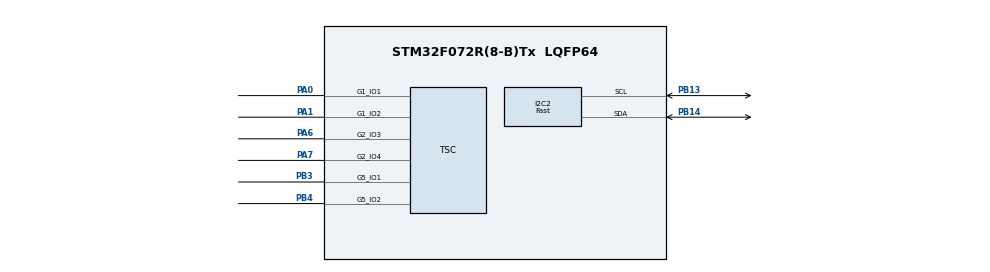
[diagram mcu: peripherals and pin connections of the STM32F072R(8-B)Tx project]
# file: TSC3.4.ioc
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I2C2.I2C_Speed_Mode=I2C_Fast
I2C2.Timing=0x0000020B
Mcu.Family=STM32F0
Mcu.Name=STM32F072R(8-B)Tx
Mcu.Package=LQFP64
PA0.Mode=G1_IO1-Sampling
PA0.Signal=TSC_G1_IO1
PA1.Mode=G1_IO2-Channel
PA1.Signal=TSC_G1_IO2
PA6.Mode=G2_IO3-Sampling
PA6.Signal=TSC_G2_IO3
PA7.Mode=G2_IO4-Channel
PA7.Signal=TSC_G2_IO4
PB13.Mode=I2C
PB13.Signal=I2C2_SCL
PB14.Mode=I2C
PB14.Signal=I2C2_SDA
PB3.Mode=G5_IO1-Sampling
PB3.Signal=TSC_G5_IO1
PB4.Mode=G5_IO2-Channel
PB4.Signal=TSC_G5_IO2
ProjectManager.HeapSize=0x200
ProjectManager.StackSize=0x400
ProjectManager.TargetToolchain=STM32CubeIDE
TOUCHSENSING.IO_TOUCHKEY_B1=G1_IO2
TOUCHSENSING.IO_TOUCHKEY_B2=G2_IO4
TOUCHSENSING.IO_TOUCHKEY_B3=G5_IO2
TOUCHSENSING.TSLPRM_SENSORS_DATAS=TSLPRM_TOTAL_TOUCHKEYS_B 1 3 
TOUCHSENSING.TSLPRM_TOTAL_TOUCHKEYS_B=3
TSC.ChannelIOs-G1_IO2=TSC_GROUP1_IO2
TSC.ChannelIOs-G2_IO4=TSC_GROUP2_IO4
TSC.ChannelIOs-G5_IO2=TSC_GROUP5_IO2
TSC.SamplingIOs-G1_IO1=TSC_GROUP1_IO1
TSC.SamplingIOs-G2_IO3=TSC_GROUP2_IO3
TSC.SamplingIOs-G5_IO1=TSC_GROUP5_IO1
VP_TOUCHSENSING_VS_TOUCHSENSING.Mode=TouchSensing_Enabled
board=custom

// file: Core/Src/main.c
/* USER CODE BEGIN Header */
/**
  ******************************************************************************
  * @file           : main.c
  * @brief          : Main program body
  ******************************************************************************
  * @attention
  *
  * Copyright (c) 2025 STMicroelectronics.
  * All rights reserved.
  *
  * This software is licensed under terms that can be found in the LICENSE file
  * in the root directory of this software component.
  * If no LICENSE file comes with this software, it is provided AS-IS.
  *
  ******************************************************************************
  */
/* USER CODE END Header */
#include "main.h"
#include "touchsensing.h"

/* USER CODE BEGIN Includes */
#include <math.h>
#include "OLEDScreen.h"
#include <stdio.h>
/* USER CODE END Includes */

/* USER CODE BEGIN PTD */
void I2C2WriteRegister(unsigned char Recv_addr, char Reg_addr, char Data);
void Clear_OLED(void);
void Set_Cursor_Pos(int , int );
void PrintChar_OLED(char );
void WriteString_OLED(char* );
void Draw_Point_OLED(int x, int y);
void Draw_Line_OLED (void);
void Draw_Rect_OLED (int w, int h);

/**************Defines Here for OLED, ssd1306************************/
#define OLED_addr          0x3C
//   *****   ssd Commands and data *************

#define SSD1306_LCDWIDTH      128
#define SSD1306_LCDHEIGHT      64
#define SSD1306_SETCONTRAST   0x81
#define SSD1306_DISPLAYALLON_RESUME 0xA4
#define SSD1306_DISPLAYALLON 0xA5
#define SSD1306_NORMALDISPLAY 0xA6
#define SSD1306_INVERTDISPLAY 0xA7
#define SSD1306_DISPLAYOFF 0xAE
#define SSD1306_DISPLAYON 0xAF
#define SSD1306_SETDISPLAYOFFSET 0xD3
#define SSD1306_SETCOMPINS 0xDA
#define SSD1306_SETVCOMDETECT 0xDB
#define SSD1306_SETDISPLAYCLOCKDIV 0xD5
#define SSD1306_SETPRECHARGE 0xD9
#define SSD1306_SETMULTIPLEX 0xA8
#define SSD1306_SETLOWCOLUMN 0x00
#define SSD1306_SETHIGHCOLUMN 0x10
#define SSD1306_SETSTARTLINE 0x40
#define SSD1306_MEMORYMODE 0x20
#define SSD1306_COLUMNADDR 0x21
#define SSD1306_PAGEADDR   0x22
#define SSD1306_COMSCANINC 0xC0
#define SSD1306_COMSCANDEC 0xC8
#define SSD1306_SEGREMAP 0xA0
#define SSD1306_CHARGEPUMP 0x8D
#define SSD1306_EXTERNALVCC 0x1
#define SSD1306_SWITCHCAPVCC 0x2
// Standard ASCII 5x7 font

/******* Prototype Function declarations ******/
void  ssd1306_command(unsigned char c);
////////////////////////////////////////////
void  ssd1306_data(unsigned char c);
///////////////////////////////////////////////////
// Used when doing Horizontal or Vertical Addressing
void setColAddress(int xCol);
/////////////////////////////////////////////////////
// Used when doing Horizontal or Vertical Addressing
void setPageAddress(int yPage);

void Init_OLED(int mode);

/* USER CODE END PTD */

I2C_HandleTypeDef hi2c2;

TSC_HandleTypeDef htsc;

/* USER CODE BEGIN PV */
int x1;
float Distance1;
float Temp1;
float runsum1;
float Average1;
int nol = 10;
int Cycles1;

int x2;
float Distance2;
float Temp2;
float runsum2;
float Average2;
int Cycles2;

int x3;
float Distance3;
float Temp3;
float runsum3;
float Average3;
int Cycles3;

char buffer[20];
/* USER CODE END PV */

void SystemClock_Config(void);
static void MX_GPIO_Init(void);
static void MX_TSC_Init(void);
static void MX_I2C2_Init(void);

int main(void)
{

  /* USER CODE BEGIN 1 */
	int i;
  /* USER CODE END 1 */

  /* MCU Configuration--------------------------------------------------------*/

  /* Reset of all peripherals, Initializes the Flash interface and the Systick. */
  HAL_Init();

  /* Configure the system clock */
  SystemClock_Config();

  /* Initialize all configured peripherals */
  MX_GPIO_Init();
  MX_TSC_Init();
  MX_TOUCHSENSING_Init();
  MX_I2C2_Init();
  /* USER CODE BEGIN 2 */
  tsl_user_Init();
  Init_OLED(0);
  Clear_OLED();

	WriteString_OLED("Measuring Tool");
	Set_Cursor_Pos(0, 0);
  /* USER CODE END 2 */

  /* Infinite loop */
  /* USER CODE BEGIN WHILE */
  while (1)
  {
	  runsum1 = 0;
	  runsum2 = 0;
	  runsum3 = 0;

	  for (i = 0; i < nol; i++) {
	  tsl_user_Exec();

	  x1 = MyTKeysB[0].p_ChD->Delta;
	  Cycles1 = MyTKeysB[0].p_ChD->Meas;
	  Distance1 = (3991.4 * pow(x1, -1.523));
	  Temp1 = ((int) (Distance1 * 100));
	  runsum1 = runsum1 + Distance1;
	  Average1 = runsum1 / nol;

	  x2 = MyTKeysB[1].p_ChD->Delta;
	  Cycles2 = MyTKeysB[1].p_ChD->Meas;
	  Distance2 = (2192.7 * pow(x2, -1.492));
	  Temp2 = ((int) (Distance2 * 100));
	  runsum2 = runsum2 + Distance2;
	  Average2 = runsum2 / nol;

	  x3 = MyTKeysB[2].p_ChD->Delta;
	  Cycles3 = MyTKeysB[2].p_ChD->Meas;
	  Distance3 = (571.9 * pow(x3, -1.423));
	  Temp3 = ((int) (Distance3 * 100));
	  runsum3 = runsum3 + Distance3;
	  Average3 = runsum3 / nol;
    /* USER CODE END WHILE */

    /* USER CODE BEGIN 3 */
  }
	  Set_Cursor_Pos(0, 3);
	  sprintf(buffer, "S1=%.3f", Average1);
	  WriteString_OLED(buffer);

	  Set_Cursor_Pos(0, 5);
	  sprintf(buffer, "S2=%.3f", Average2);
	  WriteString_OLED(buffer);

	  Set_Cursor_Pos(0, 7);
	  sprintf(buffer, "S3=%.3f", Average3);
	  WriteString_OLED(buffer);

  /* USER CODE END 3 */
}
}
void SystemClock_Config(void)
{
  RCC_OscInitTypeDef RCC_OscInitStruct = {0};
  RCC_ClkInitTypeDef RCC_ClkInitStruct = {0};

  /** Initializes the RCC Oscillators according to the specified parameters
  * in the RCC_OscInitTypeDef structure.
  */
  RCC_OscInitStruct.OscillatorType = RCC_OSCILLATORTYPE_HSI;
  RCC_OscInitStruct.HSIState = RCC_HSI_ON;
  RCC_OscInitStruct.HSICalibrationValue = RCC_HSICALIBRATION_DEFAULT;
  RCC_OscInitStruct.PLL.PLLState = RCC_PLL_NONE;
  if (HAL_RCC_OscConfig(&RCC_OscInitStruct) != HAL_OK)
  {
    Error_Handler();
  }

  /** Initializes the CPU, AHB and APB buses clocks
  */
  RCC_ClkInitStruct.ClockType = RCC_CLOCKTYPE_HCLK|RCC_CLOCKTYPE_SYSCLK
                              |RCC_CLOCKTYPE_PCLK1;
  RCC_ClkInitStruct.SYSCLKSource = RCC_SYSCLKSOURCE_HSI;
  RCC_ClkInitStruct.AHBCLKDivider = RCC_SYSCLK_DIV1;
  RCC_ClkInitStruct.APB1CLKDivider = RCC_HCLK_DIV1;

  if (HAL_RCC_ClockConfig(&RCC_ClkInitStruct, FLASH_LATENCY_0) != HAL_OK)
  {
    Error_Handler();
  }
}

static void MX_I2C2_Init(void)
{

  hi2c2.Instance = I2C2;
  hi2c2.Init.Timing = 0x0000020B;
  hi2c2.Init.OwnAddress1 = 0;
  hi2c2.Init.AddressingMode = I2C_ADDRESSINGMODE_7BIT;
  hi2c2.Init.DualAddressMode = I2C_DUALADDRESS_DISABLE;
  hi2c2.Init.OwnAddress2 = 0;
  hi2c2.Init.OwnAddress2Masks = I2C_OA2_NOMASK;
  hi2c2.Init.GeneralCallMode = I2C_GENERALCALL_DISABLE;
  hi2c2.Init.NoStretchMode = I2C_NOSTRETCH_DISABLE;
  if (HAL_I2C_Init(&hi2c2) != HAL_OK)
  {
    Error_Handler();
  }

  /** Configure Analogue filter
  */
  if (HAL_I2CEx_ConfigAnalogFilter(&hi2c2, I2C_ANALOGFILTER_ENABLE) != HAL_OK)
  {
    Error_Handler();
  }

  /** Configure Digital filter
  */
  if (HAL_I2CEx_ConfigDigitalFilter(&hi2c2, 0) != HAL_OK)
  {
    Error_Handler();
  }

}

static void MX_TSC_Init(void)
{

  /** Configure the TSC peripheral
  */
  htsc.Instance = TSC;
  htsc.Init.CTPulseHighLength = TSC_CTPH_2CYCLES;
  htsc.Init.CTPulseLowLength = TSC_CTPL_2CYCLES;
  htsc.Init.SpreadSpectrum = DISABLE;
  htsc.Init.SpreadSpectrumDeviation = 1;
  htsc.Init.SpreadSpectrumPrescaler = TSC_SS_PRESC_DIV1;
  htsc.Init.PulseGeneratorPrescaler = TSC_PG_PRESC_DIV4;
  htsc.Init.MaxCountValue = TSC_MCV_8191;
  htsc.Init.IODefaultMode = TSC_IODEF_OUT_PP_LOW;
  htsc.Init.SynchroPinPolarity = TSC_SYNC_POLARITY_FALLING;
  htsc.Init.AcquisitionMode = TSC_ACQ_MODE_NORMAL;
  htsc.Init.MaxCountInterrupt = DISABLE;
  htsc.Init.ChannelIOs = TSC_GROUP1_IO2|TSC_GROUP2_IO4|TSC_GROUP5_IO2;
  htsc.Init.ShieldIOs = 0;
  htsc.Init.SamplingIOs = TSC_GROUP1_IO1|TSC_GROUP2_IO3|TSC_GROUP5_IO1;
  if (HAL_TSC_Init(&htsc) != HAL_OK)
  {
    Error_Handler();
  }

}

static void MX_GPIO_Init(void)
{

  /* GPIO Ports Clock Enable */
  __HAL_RCC_GPIOA_CLK_ENABLE();
  __HAL_RCC_GPIOB_CLK_ENABLE();

}

/* USER CODE BEGIN 4 */
void I2C2WriteRegister(unsigned char Recv_addr, char Reg_addr, char Data) {
	//set up slave address (shifted 1 spot) and 2 byte transmission
	I2C2->CR2 = I2C_CR2_AUTOEND | (2 << 16) | Recv_addr << 1; //I2C_CR2_RD_WRN = 0 for write transfer; 7 bit address
	I2C2->CR2 |= I2C_CR2_START;   // start transfer

	while ((I2C2->ISR & I2C_ISR_TXIS) == 0)
		;
	I2C2->TXDR = Reg_addr;
	while ((I2C2->ISR & I2C_ISR_TXIS) == 0)
		;
	I2C2->TXDR = Data;
//	while ((I2C2->ISR &I2C_ISR_TC) ==0);

}
unsigned char asciiChar[]= {
	0x00, 0x00, 0x00, 0x00, 0x00,
	0x3E, 0x5B, 0x4F, 0x5B, 0x3E,
	0x3E, 0x6B, 0x4F, 0x6B, 0x3E,
	0x1C, 0x3E, 0x7C, 0x3E, 0x1C,
	0x18, 0x3C, 0x7E, 0x3C, 0x18,
	0x1C, 0x57, 0x7D, 0x57, 0x1C,
	0x1C, 0x5E, 0x7F, 0x5E, 0x1C,
	0x00, 0x18, 0x3C, 0x18, 0x00,
	0xFF, 0xE7, 0xC3, 0xE7, 0xFF,
	0x00, 0x18, 0x24, 0x18, 0x00,
	0xFF, 0xE7, 0xDB, 0xE7, 0xFF,
	0x30, 0x48, 0x3A, 0x06, 0x0E,
	0x26, 0x29, 0x79, 0x29, 0x26,
	0x40, 0x7F, 0x05, 0x05, 0x07,
	0x40, 0x7F, 0x05, 0x25, 0x3F,
	0x5A, 0x3C, 0xE7, 0x3C, 0x5A,
	0x7F, 0x3E, 0x1C, 0x1C, 0x08,
	0x08, 0x1C, 0x1C, 0x3E, 0x7F,
	0x14, 0x22, 0x7F, 0x22, 0x14,
	0x5F, 0x5F, 0x00, 0x5F, 0x5F,
	0x06, 0x09, 0x7F, 0x01, 0x7F,
	0x00, 0x66, 0x89, 0x95, 0x6A,
	0x60, 0x60, 0x60, 0x60, 0x60,
	0x94, 0xA2, 0xFF, 0xA2, 0x94,
	0x08, 0x04, 0x7E, 0x04, 0x08,
	0x10, 0x20, 0x7E, 0x20, 0x10,
	0x08, 0x08, 0x2A, 0x1C, 0x08,
	0x08, 0x1C, 0x2A, 0x08, 0x08,
	0x1E, 0x10, 0x10, 0x10, 0x10,
	0x0C, 0x1E, 0x0C, 0x1E, 0x0C,
	0x30, 0x38, 0x3E, 0x38, 0x30,
	0x06, 0x0E, 0x3E, 0x0E, 0x06,
	0x00, 0x00, 0x00, 0x00, 0x00,
	0x00, 0x00, 0x5F, 0x00, 0x00,
	0x00, 0x07, 0x00, 0x07, 0x00,
	0x14, 0x7F, 0x14, 0x7F, 0x14,
	0x24, 0x2A, 0x7F, 0x2A, 0x12,
	0x23, 0x13, 0x08, 0x64, 0x62,
	0x36, 0x49, 0x56, 0x20, 0x50,
	0x00, 0x08, 0x07, 0x03, 0x00,
	0x00, 0x1C, 0x22, 0x41, 0x00,
	0x00, 0x41, 0x22, 0x1C, 0x00,
	0x2A, 0x1C, 0x7F, 0x1C, 0x2A,
	0x08, 0x08, 0x3E, 0x08, 0x08,
	0x00, 0x80, 0x70, 0x30, 0x00,
	0x08, 0x08, 0x08, 0x08, 0x08,
	0x00, 0x00, 0x60, 0x60, 0x00,
	0x20, 0x10, 0x08, 0x04, 0x02,
	0x3E, 0x51, 0x49, 0x45, 0x3E,
	0x00, 0x42, 0x7F, 0x40, 0x00,
	0x72, 0x49, 0x49, 0x49, 0x46,
	0x21, 0x41, 0x49, 0x4D, 0x33,
	0x18, 0x14, 0x12, 0x7F, 0x10,
	0x27, 0x45, 0x45, 0x45, 0x39,
	0x3C, 0x4A, 0x49, 0x49, 0x31,
	0x41, 0x21, 0x11, 0x09, 0x07,
	0x36, 0x49, 0x49, 0x49, 0x36,
	0x46, 0x49, 0x49, 0x29, 0x1E,
	0x00, 0x00, 0x14, 0x00, 0x00,
	0x00, 0x40, 0x34, 0x00, 0x00,
	0x00, 0x08, 0x14, 0x22, 0x41,
	0x14, 0x14, 0x14, 0x14, 0x14,
	0x00, 0x41, 0x22, 0x14, 0x08,
	0x02, 0x01, 0x59, 0x09, 0x06,
	0x3E, 0x41, 0x5D, 0x59, 0x4E,
	0x7C, 0x12, 0x11, 0x12, 0x7C,  // 'A'
	0x7F, 0x49, 0x49, 0x49, 0x36,  // 'B'
	0x3E, 0x41, 0x41, 0x41, 0x22,
	0x7F, 0x41, 0x41, 0x41, 0x3E,
	0x7F, 0x49, 0x49, 0x49, 0x41,
	0x7F, 0x09, 0x09, 0x09, 0x01,
	0x3E, 0x41, 0x41, 0x51, 0x73,
	0x7F, 0x08, 0x08, 0x08, 0x7F,
	0x00, 0x41, 0x7F, 0x41, 0x00,
	0x20, 0x40, 0x41, 0x3F, 0x01,
	0x7F, 0x08, 0x14, 0x22, 0x41,
	0x7F, 0x40, 0x40, 0x40, 0x40,
	0x7F, 0x02, 0x1C, 0x02, 0x7F,
	0x7F, 0x04, 0x08, 0x10, 0x7F,
	0x3E, 0x41, 0x41, 0x41, 0x3E,
	0x7F, 0x09, 0x09, 0x09, 0x06,
	0x3E, 0x41, 0x51, 0x21, 0x5E,
	0x7F, 0x09, 0x19, 0x29, 0x46,
	0x26, 0x49, 0x49, 0x49, 0x32,
	0x03, 0x01, 0x7F, 0x01, 0x03,
	0x3F, 0x40, 0x40, 0x40, 0x3F,
	0x1F, 0x20, 0x40, 0x20, 0x1F,
	0x3F, 0x40, 0x38, 0x40, 0x3F,
	0x63, 0x14, 0x08, 0x14, 0x63,
	0x03, 0x04, 0x78, 0x04, 0x03,
	0x61, 0x59, 0x49, 0x4D, 0x43,  // 'Z'
	0x00, 0x7F, 0x41, 0x41, 0x41,
	0x02, 0x04, 0x08, 0x10, 0x20,
	0x00, 0x41, 0x41, 0x41, 0x7F,
	0x04, 0x02, 0x01, 0x02, 0x04,
	0x40, 0x40, 0x40, 0x40, 0x40,
	0x00, 0x03, 0x07, 0x08, 0x00,
	0x20, 0x54, 0x54, 0x78, 0x40,  // 'a'
	0x7F, 0x28, 0x44, 0x44, 0x38,  // 'b'
	0x38, 0x44, 0x44, 0x44, 0x28,
	0x38, 0x44, 0x44, 0x28, 0x7F,
	0x38, 0x54, 0x54, 0x54, 0x18,
	0x00, 0x08, 0x7E, 0x09, 0x02,
	0x18, 0xA4, 0xA4, 0x9C, 0x78,
	0x7F, 0x08, 0x04, 0x04, 0x78,
	0x00, 0x44, 0x7D, 0x40, 0x00,
	0x20, 0x40, 0x40, 0x3D, 0x00,
	0x7F, 0x10, 0x28, 0x44, 0x00,
	0x00, 0x41, 0x7F, 0x40, 0x00,
	0x7C, 0x04, 0x78, 0x04, 0x78,
	0x7C, 0x08, 0x04, 0x04, 0x78,
	0x38, 0x44, 0x44, 0x44, 0x38,
	0xFC, 0x18, 0x24, 0x24, 0x18,
	0x18, 0x24, 0x24, 0x18, 0xFC,
	0x7C, 0x08, 0x04, 0x04, 0x08,
	0x48, 0x54, 0x54, 0x54, 0x24,
	0x04, 0x04, 0x3F, 0x44, 0x24,
	0x3C, 0x40, 0x40, 0x20, 0x7C,
	0x1C, 0x20, 0x40, 0x20, 0x1C,
	0x3C, 0x40, 0x30, 0x40, 0x3C,
	0x44, 0x28, 0x10, 0x28, 0x44,
	0x4C, 0x90, 0x90, 0x90, 0x7C,
	0x44, 0x64, 0x54, 0x4C, 0x44,
	0x00, 0x08, 0x36, 0x41, 0x00,  // 'z'
	0x00, 0x00, 0x77, 0x00, 0x00,
	0x00, 0x41, 0x36, 0x08, 0x00,
	0x02, 0x01, 0x02, 0x04, 0x02,
	0x3C, 0x26, 0x23, 0x26, 0x3C,
	0x1E, 0xA1, 0xA1, 0x61, 0x12,
	0x3A, 0x40, 0x40, 0x20, 0x7A,
	0x38, 0x54, 0x54, 0x55, 0x59,
	0x21, 0x55, 0x55, 0x79, 0x41,
	0x22, 0x54, 0x54, 0x78, 0x42,
	0x21, 0x55, 0x54, 0x78, 0x40,
	0x20, 0x54, 0x55, 0x79, 0x40,
	0x0C, 0x1E, 0x52, 0x72, 0x12,
	0x39, 0x55, 0x55, 0x55, 0x59,
	0x39, 0x54, 0x54, 0x54, 0x59,
	0x39, 0x55, 0x54, 0x54, 0x58,
	0x00, 0x00, 0x45, 0x7C, 0x41,
	0x00, 0x02, 0x45, 0x7D, 0x42,
	0x00, 0x01, 0x45, 0x7C, 0x40,
	0x7D, 0x12, 0x11, 0x12, 0x7D,
	0xF0, 0x28, 0x25, 0x28, 0xF0,
	0x7C, 0x54, 0x55, 0x45, 0x00,
	0x20, 0x54, 0x54, 0x7C, 0x54,
	0x7C, 0x0A, 0x09, 0x7F, 0x49,
	0x32, 0x49, 0x49, 0x49, 0x32,
	0x3A, 0x44, 0x44, 0x44, 0x3A,
	0x32, 0x4A, 0x48, 0x48, 0x30,
	0x3A, 0x41, 0x41, 0x21, 0x7A,
	0x3A, 0x42, 0x40, 0x20, 0x78,
	0x00, 0x9D, 0xA0, 0xA0, 0x7D,
	0x3D, 0x42, 0x42, 0x42, 0x3D,
	0x3D, 0x40, 0x40, 0x40, 0x3D,
	0x3C, 0x24, 0xFF, 0x24, 0x24,
	0x48, 0x7E, 0x49, 0x43, 0x66,
	0x2B, 0x2F, 0xFC, 0x2F, 0x2B,
	0xFF, 0x09, 0x29, 0xF6, 0x20,
	0xC0, 0x88, 0x7E, 0x09, 0x03,
	0x20, 0x54, 0x54, 0x79, 0x41,
	0x00, 0x00, 0x44, 0x7D, 0x41,
	0x30, 0x48, 0x48, 0x4A, 0x32,
	0x38, 0x40, 0x40, 0x22, 0x7A,
	0x00, 0x7A, 0x0A, 0x0A, 0x72,
	0x7D, 0x0D, 0x19, 0x31, 0x7D,
	0x26, 0x29, 0x29, 0x2F, 0x28,
	0x26, 0x29, 0x29, 0x29, 0x26,
	0x30, 0x48, 0x4D, 0x40, 0x20,
	0x38, 0x08, 0x08, 0x08, 0x08,
	0x08, 0x08, 0x08, 0x08, 0x38,
	0x2F, 0x10, 0xC8, 0xAC, 0xBA,
	0x2F, 0x10, 0x28, 0x34, 0xFA,
	0x00, 0x00, 0x7B, 0x00, 0x00,
	0x08, 0x14, 0x2A, 0x14, 0x22,
	0x22, 0x14, 0x2A, 0x14, 0x08,
	0x55, 0x00, 0x55, 0x00, 0x55,
	0xAA, 0x55, 0xAA, 0x55, 0xAA,
	0xFF, 0x55, 0xFF, 0x55, 0xFF,
	0x00, 0x00, 0x00, 0xFF, 0x00,
	0x10, 0x10, 0x10, 0xFF, 0x00,
	0x14, 0x14, 0x14, 0xFF, 0x00,
	0x10, 0x10, 0xFF, 0x00, 0xFF,
	0x10, 0x10, 0xF0, 0x10, 0xF0,
	0x14, 0x14, 0x14, 0xFC, 0x00,
	0x14, 0x14, 0xF7, 0x00, 0xFF,
	0x00, 0x00, 0xFF, 0x00, 0xFF,
	0x14, 0x14, 0xF4, 0x04, 0xFC,
	0x14, 0x14, 0x17, 0x10, 0x1F,
	0x10, 0x10, 0x1F, 0x10, 0x1F,
	0x14, 0x14, 0x14, 0x1F, 0x00,
	0x10, 0x10, 0x10, 0xF0, 0x00,
	0x00, 0x00, 0x00, 0x1F, 0x10,
	0x10, 0x10, 0x10, 0x1F, 0x10,
	0x10, 0x10, 0x10, 0xF0, 0x10,
	0x00, 0x00, 0x00, 0xFF, 0x10,
	0x10, 0x10, 0x10, 0x10, 0x10,
	0x10, 0x10, 0x10, 0xFF, 0x10,
	0x00, 0x00, 0x00, 0xFF, 0x14,
	0x00, 0x00, 0xFF, 0x00, 0xFF,
	0x00, 0x00, 0x1F, 0x10, 0x17,
	0x00, 0x00, 0xFC, 0x04, 0xF4,
	0x14, 0x14, 0x17, 0x10, 0x17,
	0x14, 0x14, 0xF4, 0x04, 0xF4,
	0x00, 0x00, 0xFF, 0x00, 0xF7,
	0x14, 0x14, 0x14, 0x14, 0x14,
	0x14, 0x14, 0xF7, 0x00, 0xF7,
	0x14, 0x14, 0x14, 0x17, 0x14,
	0x10, 0x10, 0x1F, 0x10, 0x1F,
	0x14, 0x14, 0x14, 0xF4, 0x14,
	0x10, 0x10, 0xF0, 0x10, 0xF0,
	0x00, 0x00, 0x1F, 0x10, 0x1F,
	0x00, 0x00, 0x00, 0x1F, 0x14,
	0x00, 0x00, 0x00, 0xFC, 0x14,
	0x00, 0x00, 0xF0, 0x10, 0xF0,
	0x10, 0x10, 0xFF, 0x10, 0xFF,
	0x14, 0x14, 0x14, 0xFF, 0x14,
	0x10, 0x10, 0x10, 0x1F, 0x00,
	0x00, 0x00, 0x00, 0xF0, 0x10,
	0xFF, 0xFF, 0xFF, 0xFF, 0xFF,
	0xF0, 0xF0, 0xF0, 0xF0, 0xF0,
	0xFF, 0xFF, 0xFF, 0x00, 0x00,
	0x00, 0x00, 0x00, 0xFF, 0xFF,
	0x0F, 0x0F, 0x0F, 0x0F, 0x0F,
	0x38, 0x44, 0x44, 0x38, 0x44,
	0xFC, 0x4A, 0x4A, 0x4A, 0x34,
	0x7E, 0x02, 0x02, 0x06, 0x06,
	0x02, 0x7E, 0x02, 0x7E, 0x02,
	0x63, 0x55, 0x49, 0x41, 0x63,
	0x38, 0x44, 0x44, 0x3C, 0x04,
	0x40, 0x7E, 0x20, 0x1E, 0x20,
	0x06, 0x02, 0x7E, 0x02, 0x02,
	0x99, 0xA5, 0xE7, 0xA5, 0x99,
	0x1C, 0x2A, 0x49, 0x2A, 0x1C,
	0x4C, 0x72, 0x01, 0x72, 0x4C,
	0x30, 0x4A, 0x4D, 0x4D, 0x30,
	0x30, 0x48, 0x78, 0x48, 0x30,
	0xBC, 0x62, 0x5A, 0x46, 0x3D,
	0x3E, 0x49, 0x49, 0x49, 0x00,
	0x7E, 0x01, 0x01, 0x01, 0x7E,
	0x2A, 0x2A, 0x2A, 0x2A, 0x2A,
	0x44, 0x44, 0x5F, 0x44, 0x44,
	0x40, 0x51, 0x4A, 0x44, 0x40,
	0x40, 0x44, 0x4A, 0x51, 0x40,
	0x00, 0x00, 0xFF, 0x01, 0x03,
	0xE0, 0x80, 0xFF, 0x00, 0x00,
	0x08, 0x08, 0x6B, 0x6B, 0x08,
	0x36, 0x12, 0x36, 0x24, 0x36,
	0x06, 0x0F, 0x09, 0x0F, 0x06,
	0x00, 0x00, 0x18, 0x18, 0x00,
	0x00, 0x00, 0x10, 0x10, 0x00,
	0x30, 0x40, 0xFF, 0x01, 0x01,
	0x00, 0x1F, 0x01, 0x01, 0x1E,
	0x00, 0x19, 0x1D, 0x17, 0x12,
	0x00, 0x3C, 0x3C, 0x3C, 0x3C,
	0x00, 0x00, 0x00, 0x00, 0x00
};

void  ssd1306_command(unsigned char c)
{
	unsigned char control = 0x00; // some use 0X00 other examples use 0X80. I tried both
    //i2c_start();
    //i2c_write(_i2c_address);
    //i2c_write(control); // This is Command
    //i2c_write(c);
    //i2c_stop();
    //  All this should be in this function adapted here

    I2C2WriteRegister(OLED_addr, control, c);     // Writes 0x00 to data config register (0x0E).
    }
////////////////////////////////////////////
//
void  ssd1306_data(unsigned char c)
{
    //i2c_start();
    //i2c_write(_i2c_address);
    //i2c_write(0X40); // This byte is DATA
    //i2c_write(c);
    //i2c_stop();

    //  adapted for our iic functions...
    I2C2WriteRegister(OLED_addr, 0x40, c); // Writes 0x00 to data config register (0x0E).

}
///////////////////////////////////////////////////
// Used when doing Horizontal or Vertical Addressing
void setColAddress(int xCol)
{
	if(xCol>(SSD1306_LCDWIDTH-1))return;
  ssd1306_command(SSD1306_COLUMNADDR); // 0x21 COMMAND
  ssd1306_command(xCol); // Column start address
  ssd1306_command(SSD1306_LCDWIDTH-1); // Column end address  0 thru 127
}
/////////////////////////////////////////////////////
// Used when doing Horizontal or Vertical Addressing
void setPageAddress(int yPage)
{  if(yPage>(SSD1306_LCDHEIGHT/8-1))return;
  ssd1306_command(SSD1306_PAGEADDR); // 0x22 COMMAND
  ssd1306_command(yPage); // Start Page address
  ssd1306_command((SSD1306_LCDHEIGHT/8)-1);// End Page address 0-7   (0 thru(64/8)-1)
}
///////////////////////////////////////////////////////////
// Transfers the local buffer to the CGRAM in the SSD1306
void transferBuffer(int *p, int size,unsigned char xCol,unsigned char yPage)
{
	int j=0;
      // set the Column and Page addresses to 0,0
      setColAddress(xCol);
      setPageAddress(yPage);

      for(j=0;j<size;j++)
      {

        I2C2WriteRegister(OLED_addr, 0x40, *p); // Writes 0x00 to data config register (0x0E).
        p++;
      }

}

#define CHAR_MODE 0
#define GRAPHICS_Mode 1  //currently only char mode supported

void Init_OLED(int mode) //currently only char mode supported
{
	//Init_I2C2(400000);  //  PB13 (SCL) PB14 (SDA) are the OLED

    // Init sequence for 128x64 OLED module
	// init according to SSD1306 data sheet and many places on the web
    ssd1306_command(SSD1306_DISPLAYOFF);                    // 0xAE
    ssd1306_command(SSD1306_SETDISPLAYCLOCKDIV);            // 0xD5
    ssd1306_command(0x80);                 // the suggested ratio 0x80
    ssd1306_command(SSD1306_SETMULTIPLEX);                  // 0xA8
    ssd1306_command(0x3F);
    ssd1306_command(SSD1306_SETDISPLAYOFFSET);              // 0xD3
    ssd1306_command(0x0);                                   // no offset
    ssd1306_command(SSD1306_SETSTARTLINE);// | 0x0);        // line #0
    ssd1306_command(SSD1306_CHARGEPUMP);                    // 0x8D
    ssd1306_command(0x14);  // using internal VCC
    ssd1306_command(SSD1306_MEMORYMODE);                    // 0x20
    ssd1306_command(0x00);          // 0x00 horizontal addressing
    ssd1306_command(SSD1306_SEGREMAP | 0x1); // rotate screen 180
    ssd1306_command(SSD1306_COMSCANDEC); // rotate screen 180
    ssd1306_command(SSD1306_SETCOMPINS);                    // 0xDA
    ssd1306_command(0x12);
    ssd1306_command(SSD1306_SETCONTRAST);                   // 0x81
    ssd1306_command(0xCF);
    ssd1306_command(SSD1306_SETPRECHARGE);                  // 0xd9
    ssd1306_command(0xF1);
    ssd1306_command(SSD1306_SETVCOMDETECT);                 // 0xDB
    ssd1306_command(0x40);
    ssd1306_command(SSD1306_DISPLAYALLON_RESUME);           // 0xA4
    ssd1306_command(SSD1306_NORMALDISPLAY);                 // 0xA6
    ssd1306_command(SSD1306_DISPLAYON);                     //switch on OLED
}

void Clear_OLED(void)
{	int j=0;
      // set the Column and Page addresses to 0,0
      setColAddress(0);
      setPageAddress(0);

      for(j=0;j<1024;j++)
        I2C2WriteRegister(OLED_addr, 0x40, 0); // writing zeroes to every spot
}

void Set_Cursor_Pos(int pixel, int row){
	//across:  0<= pixel <=127.    down rows: 0<=  row  <=7
	//Set screen location from 0,0 upper right to 127,7 lower left
	      setColAddress(pixel);
	      setPageAddress(row);
	      }

void PrintChar_OLED(char ascii_x)

/*  This function will transfer the shape of each ascii character to the display.  Each character
 * is a matrix of points 5x7 dots,  The pattern for each character is given in the global array
 * asciiChar[].  Ex. the pattern for a '0' =ASCII 48 (0x30) is the 48th row of 5 values in the array
 *
 * 	0x3E, 0x51, 0x49, 0x45, 0x3E,  map these binary values vertically and you get an ASCII '0'
 *   -     x     x     x     -
 *   x     -     -     -     x
 *   x     x     -     -     x
 *   x     -     x     -     x
 *   x     -     -     x     x
 *   x     -     -     -     x
 *   -     x     x     x     -
 *     */
{
	int j,calc_Array_Index;
      calc_Array_Index= 5 * ascii_x; //find row in ascii array
      I2C2WriteRegister(OLED_addr, 0x40, 0); //some space before each character
      for(j=0;j<5;j++)
      {
        I2C2WriteRegister(OLED_addr, 0x40, asciiChar[calc_Array_Index]);
        calc_Array_Index++;
      }
      I2C2WriteRegister(OLED_addr, 0x40, 0); //some space after each character
}

void WriteString_OLED(char *str)
{	while (*str)
	{
	  PrintChar_OLED(*str);
	  str++;
	}
}
/* USER CODE END 4 */

void Error_Handler(void)
{
  __disable_irq();
  while (1)
  {
  }
}
